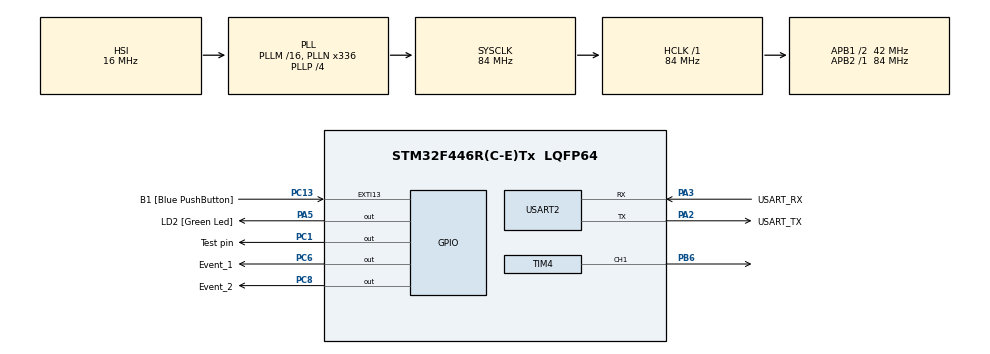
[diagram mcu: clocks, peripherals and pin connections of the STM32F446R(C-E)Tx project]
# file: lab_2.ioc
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ADC1.Channel-0\#ChannelRegularConversion=ADC_CHANNEL_TEMPSENSOR
ADC1.ClockPrescaler=ADC_CLOCK_SYNC_PCLK_DIV4
ADC1.ContinuousConvMode=DISABLE
ADC1.EnableAnalogWatchDog=false
ADC1.NbrOfConversion=1
ADC1.NbrOfConversionFlag=1
ADC1.Rank-0\#ChannelRegularConversion=1
ADC1.Resolution=ADC_RESOLUTION_12B
ADC1.SamplingTime-0\#ChannelRegularConversion=ADC_SAMPLETIME_3CYCLES
ADC1.master=1
Dma.ADC1.0.Direction=DMA_PERIPH_TO_MEMORY
Dma.ADC1.0.FIFOMode=DMA_FIFOMODE_DISABLE
Dma.ADC1.0.Instance=DMA2_Stream0
Dma.ADC1.0.MemDataAlignment=DMA_MDATAALIGN_HALFWORD
Dma.ADC1.0.MemInc=DMA_MINC_ENABLE
Dma.ADC1.0.Mode=DMA_NORMAL
Dma.ADC1.0.PeriphDataAlignment=DMA_PDATAALIGN_HALFWORD
Dma.ADC1.0.PeriphInc=DMA_PINC_DISABLE
Dma.ADC1.0.Priority=DMA_PRIORITY_LOW
Dma.Request0=ADC1
FREERTOS.BinarySemaphores01=UartRxSemaphore,Dynamic,NULL;UartTxSemaphore,Dynamic,NULL
FREERTOS.INCLUDE_eTaskGetState=1
FREERTOS.INCLUDE_pcTaskGetTaskName=1
FREERTOS.INCLUDE_uxTaskGetStackHighWaterMark=1
FREERTOS.INCLUDE_vTaskDelayUntil=1
FREERTOS.INCLUDE_xTaskAbortDelay=1
FREERTOS.INCLUDE_xTaskGetCurrentTaskHandle=1
FREERTOS.INCLUDE_xTaskGetHandle=1
FREERTOS.Queues01=uartTxQueue,10,uint8_t *,0,Dynamic,NULL,NULL
FREERTOS.Tasks01=defaultTask,0,128,StartDefaultTask,Default,NULL,Dynamic,NULL,NULL;uartTxTask,0,128,StartUartTxTask,Default,NULL,Dynamic,NULL,NULL;statsTask,-3,260,StartStatsTask,Default,NULL,Dynamic,NULL,NULL;uartRxTask,-3,128,StartUartRxTask,Default,NULL,Dynamic,NULL,NULL;ADCtask,-3,128,StartADCTask,Default,NULL,Dynamic,NULL,NULL
FREERTOS.Timers01=LEDTimer,Callback01,osTimerPeriodic,Default,NULL,Dynamic,NULL
FREERTOS.configGENERATE_RUN_TIME_STATS=1
FREERTOS.configUSE_STATS_FORMATTING_FUNCTIONS=1
FREERTOS.configUSE_TIMERS=1
FREERTOS.configUSE_TRACE_FACILITY=1
Mcu.Family=STM32F4
Mcu.Name=STM32F446R(C-E)Tx
Mcu.Package=LQFP64
NVIC.ADC_IRQn=true\:6\:0\:true\:false\:true\:true\:true\:true
NVIC.DMA2_Stream0_IRQn=true\:5\:0\:false\:false\:true\:true\:false\:true
NVIC.EXTI15_10_IRQn=true\:5\:0\:false\:false\:true\:true\:true\:true
NVIC.PriorityGroup=NVIC_PRIORITYGROUP_4
NVIC.TIM4_IRQn=true\:5\:0\:true\:false\:true\:true\:true\:true
NVIC.TIM7_IRQn=true\:0\:0\:false\:false\:true\:false\:false\:true
NVIC.TimeBase=TIM7_IRQn
NVIC.TimeBaseIP=TIM7
NVIC.USART2_IRQn=true\:5\:0\:false\:false\:true\:true\:true\:true
PA13.GPIO_Label=TMS
PA13.Mode=Serial_Wire
PA13.Signal=SYS_JTMS-SWDIO
PA14.GPIO_Label=TCK
PA14.Mode=Serial_Wire
PA14.Signal=SYS_JTCK-SWCLK
PA2.GPIO_Label=USART_TX
PA2.Mode=Asynchronous
PA2.Signal=USART2_TX
PA3.GPIO_Label=USART_RX
PA3.Mode=Asynchronous
PA3.Signal=USART2_RX
PA5.GPIO_Label=LD2 [Green Led]
PA5.Signal=GPIO_Output
PB3.GPIO_Label=SWO
PB3.Signal=SYS_JTDO-SWO
PB6.Signal=S_TIM4_CH1
PC1.GPIO_Label=Test pin
PC1.GPIO_ModeDefaultOutputPP=GPIO_MODE_OUTPUT_PP
PC1.Signal=GPIO_Output
PC13.GPIO_Label=B1 [Blue PushButton]
PC13.GPIO_ModeDefaultEXTI=GPIO_MODE_IT_FALLING
PC13.Signal=GPXTI13
PC14-OSC32_IN.Mode=LSE-External-Oscillator
PC14-OSC32_IN.Signal=RCC_OSC32_IN
PC15-OSC32_OUT.Mode=LSE-External-Oscillator
PC15-OSC32_OUT.Signal=RCC_OSC32_OUT
PC6.GPIO_Label=Event_1
PC6.Signal=GPIO_Output
PC8.GPIO_Label=Event_2
PC8.Signal=GPIO_Output
PH0-OSC_IN.Mode=HSE-External-Oscillator
PH0-OSC_IN.Signal=RCC_OSC_IN
PH1-OSC_OUT.Mode=HSE-External-Oscillator
PH1-OSC_OUT.Signal=RCC_OSC_OUT
ProjectManager.HeapSize=0x200
ProjectManager.StackSize=0x400
ProjectManager.TargetToolchain=STM32CubeIDE
RCC.48MHZClocksFreq_Value=84000000
RCC.AHBFreq_Value=84000000
RCC.APB1CLKDivider=RCC_HCLK_DIV2
RCC.APB1Freq_Value=42000000
RCC.APB1TimFreq_Value=84000000
RCC.APB2Freq_Value=84000000
RCC.APB2TimFreq_Value=84000000
RCC.CortexFreq_Value=84000000
RCC.FLatency-AdvancedSettings=FLASH_LATENCY_2
RCC.HCLKFreq_Value=84000000
RCC.HSE_VALUE=8000000
RCC.HSI_VALUE=16000000
RCC.PLLN=336
RCC.PLLP=RCC_PLLP_DIV4
RCC.SYSCLKFreq_VALUE=84000000
RCC.SYSCLKSource=RCC_SYSCLKSOURCE_PLLCLK
RCC.USBFreq_Value=168000000
RCC.VCOOutputFreq_Value=336000000
SH.S_TIM4_CH1.0=TIM4_CH1,Output Compare1 CH1
TIM4.AutoReloadPreload=TIM_AUTORELOAD_PRELOAD_ENABLE
TIM4.Channel-Output\ Compare1\ CH1=TIM_CHANNEL_1
TIM4.ClockDivision=TIM_CLOCKDIVISION_DIV1
TIM4.CounterMode=TIM_COUNTERMODE_UP
TIM4.OCMode_1=TIM_OCMODE_TOGGLE
TIM4.Period=65535
TIM4.Prescaler=83
TIM4.Pulse-Output\ Compare1\ CH1=10
USART2.VirtualMode=VM_ASYNC
VP_ADC1_TempSens_Input.Mode=IN-TempSens
VP_FREERTOS_VS_CMSIS_V1.Mode=CMSIS_V1
VP_SYS_VS_tim7.Mode=TIM7
VP_TIM4_VS_ClockSourceINT.Mode=Internal
board=NUCLEO-F446RE

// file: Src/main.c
/* USER CODE BEGIN Header */
/**
  ******************************************************************************
  * @file           : main.c
  * @brief          : Main program body
  ******************************************************************************
  * @attention
  *
  * <h2><center>&copy; Copyright (c) 2020 STMicroelectronics.
  * All rights reserved.</center></h2>
  *
  * This software component is licensed by ST under Ultimate Liberty license
  * SLA0044, the "License"; You may not use this file except in compliance with
  * the License. You may obtain a copy of the License at:
  *                             www.st.com/SLA0044
  *
  ******************************************************************************
  */
/* USER CODE END Header */
#include "main.h"
#include "cmsis_os.h"

/* USER CODE BEGIN Includes */
#include <stdio.h>
#include <string.h>
/* USER CODE END Includes */

ADC_HandleTypeDef hadc1;
DMA_HandleTypeDef hdma_adc1;

TIM_HandleTypeDef htim4;

UART_HandleTypeDef huart2;

osThreadId defaultTaskHandle;
osThreadId uartTxTaskHandle;
osThreadId statsTaskHandle;
osThreadId uartRxTaskHandle;
osThreadId ADCtaskHandle;
osMessageQId uartTxQueueHandle;
osTimerId LEDTimerHandle;
osSemaphoreId UartRxSemaphoreHandle;
osSemaphoreId UartTxSemaphoreHandle;

void SystemClock_Config(void);
static void MX_GPIO_Init(void);
static void MX_DMA_Init(void);
static void MX_USART2_UART_Init(void);
static void MX_ADC1_Init(void);
static void MX_TIM4_Init(void);
void StartDefaultTask(void const * argument);
void StartUartTxTask(void const * argument);
void StartStatsTask(void const * argument);
void StartUartRxTask(void const * argument);
void StartADCTask(void const * argument);
void Callback01(void const * argument);

/* USER CODE BEGIN PFP */
const uint8_t RX_BUFF_SZ = 10;
const uint8_t TX_BUFF_SZ = 50;
volatile uint8_t rx_buff[1];
volatile uint8_t tx_buff[50];
uint16_t temperature;

uint8_t msg1[] = "Triggered!";
uint8_t msg_help[] = "This code monitors for blue/user button trigger, and reads ADC1 when asked with letter 't'";
static int time = 1000;

/* USER CODE END PFP */

int main(void)
{

  /* MCU Configuration--------------------------------------------------------*/

  /* Reset of all peripherals, Initializes the Flash interface and the Systick. */
  HAL_Init();

  /* Configure the system clock */
  SystemClock_Config();

  /* Initialize all configured peripherals */
  MX_GPIO_Init();
  MX_DMA_Init();
  MX_USART2_UART_Init();
  MX_ADC1_Init();
  MX_TIM4_Init();
  /* USER CODE BEGIN 2 */

  HAL_TIM_Base_Start_IT(&htim4);

  /* USER CODE END 2 */

  /* Create the semaphores(s) */
  /* definition and creation of UartRxSemaphore */
  osSemaphoreDef(UartRxSemaphore);
  UartRxSemaphoreHandle = osSemaphoreCreate(osSemaphore(UartRxSemaphore), 1);

  /* definition and creation of UartTxSemaphore */
  osSemaphoreDef(UartTxSemaphore);
  UartTxSemaphoreHandle = osSemaphoreCreate(osSemaphore(UartTxSemaphore), 1);

  /* Create the timer(s) */
  /* definition and creation of LEDTimer */
  osTimerDef(LEDTimer, Callback01);
  LEDTimerHandle = osTimerCreate(osTimer(LEDTimer), osTimerPeriodic, NULL);

  /* Create the queue(s) */
  /* definition and creation of uartTxQueue */
  osMessageQDef(uartTxQueue, 10, uint8_t *);
  uartTxQueueHandle = osMessageCreate(osMessageQ(uartTxQueue), NULL);

  /* Create the thread(s) */
  /* definition and creation of defaultTask */
  osThreadDef(defaultTask, StartDefaultTask, osPriorityNormal, 0, 128);
  defaultTaskHandle = osThreadCreate(osThread(defaultTask), NULL);

  /* definition and creation of uartTxTask */
  osThreadDef(uartTxTask, StartUartTxTask, osPriorityNormal, 0, 128);
  uartTxTaskHandle = osThreadCreate(osThread(uartTxTask), NULL);

  /* definition and creation of statsTask */
  osThreadDef(statsTask, StartStatsTask, osPriorityIdle, 0, 260);
  statsTaskHandle = osThreadCreate(osThread(statsTask), NULL);

  /* definition and creation of uartRxTask */
  osThreadDef(uartRxTask, StartUartRxTask, osPriorityIdle, 0, 128);
  uartRxTaskHandle = osThreadCreate(osThread(uartRxTask), NULL);

  /* definition and creation of ADCtask */
  osThreadDef(ADCtask, StartADCTask, osPriorityIdle, 0, 128);
  ADCtaskHandle = osThreadCreate(osThread(ADCtask), NULL);

  /* USER CODE BEGIN RTOS_THREADS */
  HAL_UART_Receive_IT(&huart2, (uint8_t *)rx_buff, 1);
  //HAL_ADC_Start_IT(&hadc1);

  /* USER CODE END RTOS_THREADS */

  /* Start scheduler */
  osKernelStart();

  /* We should never get here as control is now taken by the scheduler */
  /* Infinite loop */
  while (1)
  {

  }
}

void SystemClock_Config(void)
{
  RCC_OscInitTypeDef RCC_OscInitStruct = {0};
  RCC_ClkInitTypeDef RCC_ClkInitStruct = {0};

  /** Configure the main internal regulator output voltage
  */
  __HAL_RCC_PWR_CLK_ENABLE();
  __HAL_PWR_VOLTAGESCALING_CONFIG(PWR_REGULATOR_VOLTAGE_SCALE3);
  /** Initializes the RCC Oscillators according to the specified parameters
  * in the RCC_OscInitTypeDef structure.
  */
  RCC_OscInitStruct.OscillatorType = RCC_OSCILLATORTYPE_HSI;
  RCC_OscInitStruct.HSIState = RCC_HSI_ON;
  RCC_OscInitStruct.HSICalibrationValue = RCC_HSICALIBRATION_DEFAULT;
  RCC_OscInitStruct.PLL.PLLState = RCC_PLL_ON;
  RCC_OscInitStruct.PLL.PLLSource = RCC_PLLSOURCE_HSI;
  RCC_OscInitStruct.PLL.PLLM = 16;
  RCC_OscInitStruct.PLL.PLLN = 336;
  RCC_OscInitStruct.PLL.PLLP = RCC_PLLP_DIV4;
  RCC_OscInitStruct.PLL.PLLQ = 2;
  RCC_OscInitStruct.PLL.PLLR = 2;
  if (HAL_RCC_OscConfig(&RCC_OscInitStruct) != HAL_OK)
  {
    Error_Handler();
  }
  /** Initializes the CPU, AHB and APB buses clocks
  */
  RCC_ClkInitStruct.ClockType = RCC_CLOCKTYPE_HCLK|RCC_CLOCKTYPE_SYSCLK
                              |RCC_CLOCKTYPE_PCLK1|RCC_CLOCKTYPE_PCLK2;
  RCC_ClkInitStruct.SYSCLKSource = RCC_SYSCLKSOURCE_PLLCLK;
  RCC_ClkInitStruct.AHBCLKDivider = RCC_SYSCLK_DIV1;
  RCC_ClkInitStruct.APB1CLKDivider = RCC_HCLK_DIV2;
  RCC_ClkInitStruct.APB2CLKDivider = RCC_HCLK_DIV1;

  if (HAL_RCC_ClockConfig(&RCC_ClkInitStruct, FLASH_LATENCY_2) != HAL_OK)
  {
    Error_Handler();
  }
}

static void MX_ADC1_Init(void)
{

  ADC_ChannelConfTypeDef sConfig = {0};

  /** Configure the global features of the ADC (Clock, Resolution, Data Alignment and number of conversion)
  */
  hadc1.Instance = ADC1;
  hadc1.Init.ClockPrescaler = ADC_CLOCK_SYNC_PCLK_DIV4;
  hadc1.Init.Resolution = ADC_RESOLUTION_12B;
  hadc1.Init.ScanConvMode = DISABLE;
  hadc1.Init.ContinuousConvMode = DISABLE;
  hadc1.Init.DiscontinuousConvMode = DISABLE;
  hadc1.Init.ExternalTrigConvEdge = ADC_EXTERNALTRIGCONVEDGE_NONE;
  hadc1.Init.ExternalTrigConv = ADC_SOFTWARE_START;
  hadc1.Init.DataAlign = ADC_DATAALIGN_RIGHT;
  hadc1.Init.NbrOfConversion = 1;
  hadc1.Init.DMAContinuousRequests = DISABLE;
  hadc1.Init.EOCSelection = ADC_EOC_SINGLE_CONV;
  if (HAL_ADC_Init(&hadc1) != HAL_OK)
  {
    Error_Handler();
  }
  /** Configure for the selected ADC regular channel its corresponding rank in the sequencer and its sample time.
  */
  sConfig.Channel = ADC_CHANNEL_TEMPSENSOR;
  sConfig.Rank = 1;
  sConfig.SamplingTime = ADC_SAMPLETIME_3CYCLES;
  if (HAL_ADC_ConfigChannel(&hadc1, &sConfig) != HAL_OK)
  {
    Error_Handler();
  }

}

static void MX_TIM4_Init(void)
{

  TIM_ClockConfigTypeDef sClockSourceConfig = {0};
  TIM_MasterConfigTypeDef sMasterConfig = {0};
  TIM_OC_InitTypeDef sConfigOC = {0};

  htim4.Instance = TIM4;
  htim4.Init.Prescaler = 83;
  htim4.Init.CounterMode = TIM_COUNTERMODE_UP;
  htim4.Init.Period = 65535;
  htim4.Init.ClockDivision = TIM_CLOCKDIVISION_DIV1;
  htim4.Init.AutoReloadPreload = TIM_AUTORELOAD_PRELOAD_ENABLE;
  if (HAL_TIM_Base_Init(&htim4) != HAL_OK)
  {
    Error_Handler();
  }
  sClockSourceConfig.ClockSource = TIM_CLOCKSOURCE_INTERNAL;
  if (HAL_TIM_ConfigClockSource(&htim4, &sClockSourceConfig) != HAL_OK)
  {
    Error_Handler();
  }
  if (HAL_TIM_OC_Init(&htim4) != HAL_OK)
  {
    Error_Handler();
  }
  sMasterConfig.MasterOutputTrigger = TIM_TRGO_RESET;
  sMasterConfig.MasterSlaveMode = TIM_MASTERSLAVEMODE_DISABLE;
  if (HAL_TIMEx_MasterConfigSynchronization(&htim4, &sMasterConfig) != HAL_OK)
  {
    Error_Handler();
  }
  sConfigOC.OCMode = TIM_OCMODE_TOGGLE;
  sConfigOC.Pulse = 10;
  sConfigOC.OCPolarity = TIM_OCPOLARITY_HIGH;
  sConfigOC.OCFastMode = TIM_OCFAST_DISABLE;
  if (HAL_TIM_OC_ConfigChannel(&htim4, &sConfigOC, TIM_CHANNEL_1) != HAL_OK)
  {
    Error_Handler();
  }
  HAL_TIM_MspPostInit(&htim4);

}

static void MX_USART2_UART_Init(void)
{

  huart2.Instance = USART2;
  huart2.Init.BaudRate = 115200;
  huart2.Init.WordLength = UART_WORDLENGTH_8B;
  huart2.Init.StopBits = UART_STOPBITS_1;
  huart2.Init.Parity = UART_PARITY_NONE;
  huart2.Init.Mode = UART_MODE_TX_RX;
  huart2.Init.HwFlowCtl = UART_HWCONTROL_NONE;
  huart2.Init.OverSampling = UART_OVERSAMPLING_16;
  if (HAL_UART_Init(&huart2) != HAL_OK)
  {
    Error_Handler();
  }

}

static void MX_DMA_Init(void)
{

  /* DMA controller clock enable */
  __HAL_RCC_DMA2_CLK_ENABLE();

  /* DMA interrupt init */
  /* DMA2_Stream0_IRQn interrupt configuration */
  HAL_NVIC_SetPriority(DMA2_Stream0_IRQn, 5, 0);
  HAL_NVIC_EnableIRQ(DMA2_Stream0_IRQn);

}

static void MX_GPIO_Init(void)
{
  GPIO_InitTypeDef GPIO_InitStruct = {0};

  /* GPIO Ports Clock Enable */
  __HAL_RCC_GPIOC_CLK_ENABLE();
  __HAL_RCC_GPIOH_CLK_ENABLE();
  __HAL_RCC_GPIOA_CLK_ENABLE();
  __HAL_RCC_GPIOB_CLK_ENABLE();

  /*Configure GPIO pin Output Level */
  HAL_GPIO_WritePin(GPIOC, Test_pin_Pin|Event_1_Pin|Event_2_Pin, GPIO_PIN_RESET);

  /*Configure GPIO pin Output Level */
  HAL_GPIO_WritePin(LD2_GPIO_Port, LD2_Pin, GPIO_PIN_RESET);

  /*Configure GPIO pin : B1_Pin */
  GPIO_InitStruct.Pin = B1_Pin;
  GPIO_InitStruct.Mode = GPIO_MODE_IT_FALLING;
  GPIO_InitStruct.Pull = GPIO_NOPULL;
  HAL_GPIO_Init(B1_GPIO_Port, &GPIO_InitStruct);

  /*Configure GPIO pins : Test_pin_Pin Event_1_Pin Event_2_Pin */
  GPIO_InitStruct.Pin = Test_pin_Pin|Event_1_Pin|Event_2_Pin;
  GPIO_InitStruct.Mode = GPIO_MODE_OUTPUT_PP;
  GPIO_InitStruct.Pull = GPIO_NOPULL;
  GPIO_InitStruct.Speed = GPIO_SPEED_FREQ_LOW;
  HAL_GPIO_Init(GPIOC, &GPIO_InitStruct);

  /*Configure GPIO pin : LD2_Pin */
  GPIO_InitStruct.Pin = LD2_Pin;
  GPIO_InitStruct.Mode = GPIO_MODE_OUTPUT_PP;
  GPIO_InitStruct.Pull = GPIO_NOPULL;
  GPIO_InitStruct.Speed = GPIO_SPEED_FREQ_LOW;
  HAL_GPIO_Init(LD2_GPIO_Port, &GPIO_InitStruct);

  /* EXTI interrupt init*/
  HAL_NVIC_SetPriority(EXTI15_10_IRQn, 5, 0);
  HAL_NVIC_EnableIRQ(EXTI15_10_IRQn);

}

/* USER CODE BEGIN 4 */
uint32_t LED_delay = 0;
uint8_t LED_speedup = 0;

#define LED_G_PORT GPIOA
#define LED_G_PIN	GPIO_PIN_5

/* USER CODE BEGIN 4 */
void HAL_UART_RxCpltCallback(UART_HandleTypeDef *huart)
{

	if( huart->Instance == USART2 )
	{
		osSemaphoreRelease( UartRxSemaphoreHandle );
	}

}

void HAL_ADC_ConvCpltCallback( ADC_HandleTypeDef* hadc)
{
	// ADC ready
	if( hadc->Instance == ADC1 )
	{
		//osSemaphoreRelease( ADCSemaphoreHandle );
		uint32_t temp = HAL_ADC_GetValue(&hadc1);
		uint8_t msg_buffer[80];
		sprintf((char*)msg_buffer, "T:%d\n\r", temp);
		HAL_UART_Transmit(&huart2, (uint8_t*)temp, strlen(temp),5);

	}

}

void HAL_GPIO_EXTI_Callback(uint16_t GPIO_Pin)
{
	if (GPIO_Pin == GPIO_PIN_13)
		{
		if (HAL_OK != HAL_UART_Transmit(&huart2, msg1, strlen((char*)msg1), 5) )
			printf("Debug error while UART Tx");
		// 5 ticks ~= 5ms
		if( time < 101 )
		{
			  time = 1100;
		}
		time = time - 100;
		osTimerStop( LEDTimerHandle );
		osTimerStart( LEDTimerHandle, time );
		}
	else
		{
		return;
		}
}

/* USER CODE END 4 */

void StartDefaultTask(void const * argument)
{
  /* USER CODE BEGIN 5 */
  /* Infinite loop */
  for(;;)
  {
    osDelay(1); // ms
  }
  /* USER CODE END 5 */
}

void StartUartTxTask(void const * argument)
{
  /* USER CODE BEGIN StartUartTxTask */
	/* Infinite loop */
	for(;;)
	{
		osSemaphoreWait( UartTxSemaphoreHandle, osWaitForever );
		osDelay(1);
	}
  /* USER CODE END StartUartTxTask */
}

void StartStatsTask(void const * argument)
{
  /* USER CODE BEGIN StartStatsTask */
  /* Infinite loop */
	// Stack usage of two tasks
	UBaseType_t dstack;
	UBaseType_t t2stack;
	// separate buffers for two messages (to avoid overwritting)
	uint8_t ps_buffer[40*6];
	uint8_t msg_buffer[80];
	uint8_t *pTxBuff;
  /* Infinite loop */
	  for(;;)
	  {
	    //osDelay(1000); // 1000ms
	    vTaskDelay(2000); // 1000 ticks = 1000 ms
	    vTaskGetRunTimeStats( (char*) ps_buffer ); // Generate CPU utilization info (human readable)
	    pTxBuff = ps_buffer;
	    HAL_UART_Transmit(&huart2, pTxBuff, strlen((char*)pTxBuff), 40*6);

		dstack = uxTaskGetStackHighWaterMark(defaultTaskHandle);
		t2stack = uxTaskGetStackHighWaterMark(statsTaskHandle);
		sprintf((char*)msg_buffer, "Stack High Mark: T_default=%ld, T_2=%ld\n\r", dstack, t2stack);
		pTxBuff = msg_buffer;
	    HAL_UART_Transmit(&huart2, pTxBuff, strlen((char*)pTxBuff), 40*6);

	  }
  /* USER CODE END StartStatsTask */
}

void StartUartRxTask(void const * argument)
{
  /* USER CODE BEGIN StartUartRxTask */
  /* Infinite loop */
  for(;;)
  {
      osSemaphoreWait( UartRxSemaphoreHandle, osWaitForever );

  	// receive successful a byte
  	if ((rx_buff[0]=='t')||(rx_buff[0] == 'T'))
  	{
  		// Start temperature reading from ADC
  		xTaskResumeFromISR( ADCtaskHandle );
  	}
  	if ((rx_buff[0]=='h')||(rx_buff[0]=='H')||(rx_buff[0] == '?'))
  	{
  		// Start temperature reading from ADC
  		HAL_UART_Transmit(&huart2, msg_help, strlen((char*)msg_help),10);
  	}

      /* Receive one byte in interrupt mode */
      HAL_UART_Receive_IT(&huart2, (uint8_t *)rx_buff, 1);

  }
  /* USER CODE END StartUartRxTask */
}

void StartADCTask(void const * argument)
{
  /* USER CODE BEGIN StartADCTask */
  /* Infinite loop */
  for(;;)
  {
    //osSemaphoreWait( ADCSemaphoreHandle, osWaitForever );
	  vTaskSuspend(NULL);
	  HAL_ADC_Start_IT(&hadc1);

	char temp_str[50];
	uint32_t temperature = HAL_ADC_GetValue(&hadc1);
	sprintf(temp_str, "T=%d\n", (int)temperature);
	HAL_UART_Transmit(&huart2, (uint8_t*)temp_str, strlen(temp_str),5);
  }
  /* USER CODE END StartADCTask */
}

/* Callback01 function */
void Callback01(void const * argument)
{
  /* USER CODE BEGIN Callback01 */
  HAL_GPIO_TogglePin(LED_G_PORT,LED_G_PIN);

  /* USER CODE END Callback01 */
}

 /**
  * @brief  Period elapsed callback in non blocking mode
  * @note   This function is called  when TIM7 interrupt took place, inside
  * HAL_TIM_IRQHandler(). It makes a direct call to HAL_IncTick() to increment
  * a global variable "uwTick" used as application time base.
  * @param  htim : TIM handle
  * @retval None
  */
void HAL_TIM_PeriodElapsedCallback(TIM_HandleTypeDef *htim)
{
  if (htim->Instance == TIM7) {
    HAL_IncTick();
  }
}

void Error_Handler(void)
{
}

/************************ (C) COPYRIGHT STMicroelectronics *****END OF FILE****/

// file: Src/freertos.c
/* USER CODE BEGIN Header */
/**
  ******************************************************************************
  * File Name          : freertos.c
  * Description        : Code for freertos applications
  ******************************************************************************
  * @attention
  *
  * <h2><center>&copy; Copyright (c) 2020 STMicroelectronics.
  * All rights reserved.</center></h2>
  *
  * This software component is licensed by ST under Ultimate Liberty license
  * SLA0044, the "License"; You may not use this file except in compliance with
  * the License. You may obtain a copy of the License at:
  *                             www.st.com/SLA0044
  *
  ******************************************************************************
  */
/* USER CODE END Header */

#include "FreeRTOS.h"
#include "task.h"
#include "main.h"

/* GetIdleTaskMemory prototype (linked to static allocation support) */
void vApplicationGetIdleTaskMemory( StaticTask_t **ppxIdleTaskTCBBuffer, StackType_t **ppxIdleTaskStackBuffer, uint32_t *pulIdleTaskStackSize );

/* GetTimerTaskMemory prototype (linked to static allocation support) */
void vApplicationGetTimerTaskMemory( StaticTask_t **ppxTimerTaskTCBBuffer, StackType_t **ppxTimerTaskStackBuffer, uint32_t *pulTimerTaskStackSize );

/* Hook prototypes */
void configureTimerForRunTimeStats(void);
unsigned long getRunTimeCounterValue(void);

/* USER CODE BEGIN 1 */
uint32_t tim4_ov_counter=0;
extern TIM_HandleTypeDef htim4;

/* Functions needed when configGENERATE_RUN_TIME_STATS is on */
__weak void configureTimerForRunTimeStats(void)
{

}

__weak unsigned long getRunTimeCounterValue(void)
{
	return ((tim4_ov_counter << 16) + (uint32_t)__HAL_TIM_GET_COUNTER(&htim4));
}
/* USER CODE END 1 */

/* USER CODE BEGIN GET_IDLE_TASK_MEMORY */
static StaticTask_t xIdleTaskTCBBuffer;
static StackType_t xIdleStack[configMINIMAL_STACK_SIZE];

void vApplicationGetIdleTaskMemory( StaticTask_t **ppxIdleTaskTCBBuffer, StackType_t **ppxIdleTaskStackBuffer, uint32_t *pulIdleTaskStackSize )
{
  *ppxIdleTaskTCBBuffer = &xIdleTaskTCBBuffer;
  *ppxIdleTaskStackBuffer = &xIdleStack[0];
  *pulIdleTaskStackSize = configMINIMAL_STACK_SIZE;
  /* place for user code */
}
/* USER CODE END GET_IDLE_TASK_MEMORY */

/* USER CODE BEGIN GET_TIMER_TASK_MEMORY */
static StaticTask_t xTimerTaskTCBBuffer;
static StackType_t xTimerStack[configTIMER_TASK_STACK_DEPTH];

void vApplicationGetTimerTaskMemory( StaticTask_t **ppxTimerTaskTCBBuffer, StackType_t **ppxTimerTaskStackBuffer, uint32_t *pulTimerTaskStackSize )
{
  *ppxTimerTaskTCBBuffer = &xTimerTaskTCBBuffer;
  *ppxTimerTaskStackBuffer = &xTimerStack[0];
  *pulTimerTaskStackSize = configTIMER_TASK_STACK_DEPTH;
  /* place for user code */
}
/* USER CODE END GET_TIMER_TASK_MEMORY */

/************************ (C) COPYRIGHT STMicroelectronics *****END OF FILE****/
